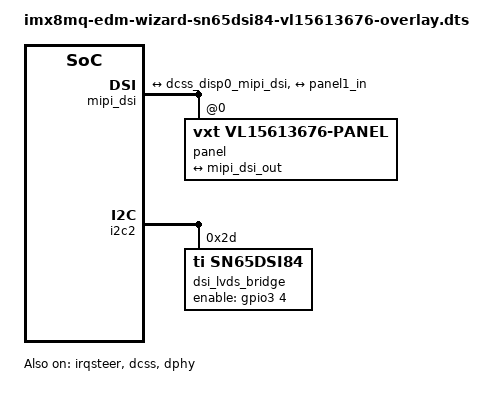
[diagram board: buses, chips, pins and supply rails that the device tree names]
/dts-v1/;
/plugin/;

#include "../imx8mq-pinfunc.h"
#include <dt-bindings/clock/imx8mq-clock.h>
#include <dt-bindings/interrupt-controller/irq.h>
#include <dt-bindings/gpio/gpio.h>

/ {

	fragment@0 {
		target-path = "/";
		__overlay__ {
			sound-hdmi {
				status = "disabled";
			};
		};
	};

	fragment@1 {
		target-path = "/";
		__overlay__ {
			backlight_mipi {
				status = "okay";
			};
		};
	};

	fragment@2 {
		target = <&irqsteer>;
		__overlay__ {
			status = "okay";
		};
	};

	fragment@3 {
		target = <&hdmi>;
		__overlay__ {
			status = "disabled";
		};
	};

	fragment@4 {
		target = <&lcdif>;
		__overlay__ {
			status = "disabled";
		};
	};

	fragment@5 {
		target = <&dcss>;
		__overlay__ {
			status = "okay";
			clocks = <&clk IMX8MQ_CLK_DISP_APB_ROOT>,
				<&clk IMX8MQ_CLK_DISP_AXI_ROOT>,
				<&clk IMX8MQ_CLK_DISP_RTRM_ROOT>,
				<&clk IMX8MQ_CLK_DC_PIXEL>,
				<&clk IMX8MQ_CLK_DISP_DTRC>;
			clock-names = "apb", "axi", "rtrm", "pix", "dtrc";
			assigned-clocks = <&clk IMX8MQ_CLK_DC_PIXEL>,
				<&clk IMX8MQ_VIDEO_PLL1_BYPASS>,
				<&clk IMX8MQ_VIDEO_PLL1_REF_SEL>,
				<&clk IMX8MQ_CLK_DISP_AXI>,
				<&clk IMX8MQ_CLK_DISP_RTRM>;
			assigned-clock-parents = <&clk IMX8MQ_VIDEO_PLL1_OUT>,
				<&clk IMX8MQ_VIDEO_PLL1>,
				<&clk IMX8MQ_CLK_27M>,
				<&clk IMX8MQ_SYS1_PLL_800M>,
				<&clk IMX8MQ_SYS1_PLL_800M>;
			assigned-clock-rates = <600000000>, <0>, <0>,
				<800000000>,
				<400000000>;

			port@0 {
				dcss_disp0_mipi_dsi: endpoint {
				remote-endpoint = <&mipi_dsi_in>;
				};
			};
		};
	};

	fragment@6 {
		target = <&mipi_dsi>;
		__overlay__ {
			#address-cells = <1>;
			#size-cells = <0>;
			status = "okay";
			fsl,clock-drop-level = <2>;

			panel@0 {
				reg = <0>;
				compatible = "vxt,vl15613676-panel";
				dsi,flags = <0x0007>;
				dsi,format = <0>;
				dsi,lanes = <4>;
				panel-width-mm  = <344>;
				panel-height-mm = <193>;
				bus-format = <0x100a>;	/* MEDIA_BUS_FMT_RGB888_1X24 */
				bus-flags = <1>;
				refresh-rate = <60>;
				rotate = <0>;
				/* horz-flip; */
				/* vert-flip; */

				panel-timing {
					clock-frequency = <76000000>;
					hactive = <1366>;
					vactive = <768>;
					hfront-porch = <90>;
					hsync-len = <20>;
					hback-porch = <90>;
					vfront-porch = <17>;
					vsync-len = <4>;
					vback-porch = <17>;
					/* flags = DISPLAY_FLAGS_HSYNC_HIGH | DISPLAY_FLAGS_VSYNC_HIGH */
					vsync-active = <1>;
					hsync-active = <1>;
				};

				port {
					panel1_in: endpoint {
						remote-endpoint = <&mipi_dsi_out>;
					};
				};
			};

			ports {
				#address-cells = <1>;
				#size-cells = <0>;

				port@0 {
					reg = <0>;
					mipi_dsi_in: endpoint {
						remote-endpoint = <&dcss_disp0_mipi_dsi>;
					};
				};

				port@1 {
					reg = <1>;
					mipi_dsi_out: endpoint {
						remote-endpoint = <&panel1_in>;
					};
				};
			};
		};
	};

	fragment@7 {
		target = <&dphy>;
		__overlay__ {
			status = "okay";
		};
	};

	fragment@8 {
		target = <&i2c2>;
		__overlay__ {
			#address-cells = <1>;
			#size-cells = <0>;
			status = "okay";
			dsi_lvds_bridge: sn65dsi84@2d {
				reg = <0x2d>;
				compatible = "ti,sn65dsi84";
				#gpio-cells = <2>;
				pinctrl-0 = <&pinctrl_mipi_dsi_rst>;
				status = "okay";
				enable-gpios = <&gpio3 4 GPIO_ACTIVE_HIGH>;
				sn65dsi84,addresses = <0x09 0x0A 0x0B 0x0D
									0x10 0x11 0x12 0x13
									0x18 0x19 0x1A 0x1B
									0x20 0x21 0x22 0x23
									0x24 0x25 0x26 0x27
									0x28 0x29 0x2A 0x2B
									0x2C 0x2D 0x2E 0x2F
									0x30 0x31 0x32 0x33
									0x34 0x35 0x36 0x37
									0x38 0x39 0x3A 0x3B
									0x3C 0x3D 0x3E 0x0D>;

				sn65dsi84,values = </* reset and clock registers */
									0x00 0x05 0x10 0x00
									/* DSI registers */
									0x26 0x00 0x35 0x00
									/* LVDS registers */
									0x78 0x00 0x03 0x00

									/* video registers */
									/* cha-al-len-l, cha-al-len-h, chb-al-len-l, chb-al-len-h */
									0x56 0x05 0x00 0x00
									/* cha-v-ds-l, cha-v-ds-h, chb-v-ds-l, chb-v-ds-h */
									0x00 0x03 0x00 0x00
									/* cha-sdl, cha-sdh, chb-sdl, chb-sdh */
									0x20 0x00 0x00 0x00
									/* cha-hs-pwl, cha-hs-pwh, chb-hs-pwl, chb-hs-pwh */
									0x14 0x00 0x00 0x00
									/* cha-vs-pwl, cha-vs-pwh, chb-vs-pwl, chb-vs-pwh */
									0x04 0x00 0x00 0x00
									/*cha-hbp, chb-hbp, cha-vbp, chb-vbp*/
									0x5a 0x00 0x11 0x00
									/* cha-hfp, chb-hfp, cha-vfp, chb-vfp*/
									0x5a 0x00 0x11 0x00

									0x00 0x00 0x00 0x01>;
			};
		};
	};
};
